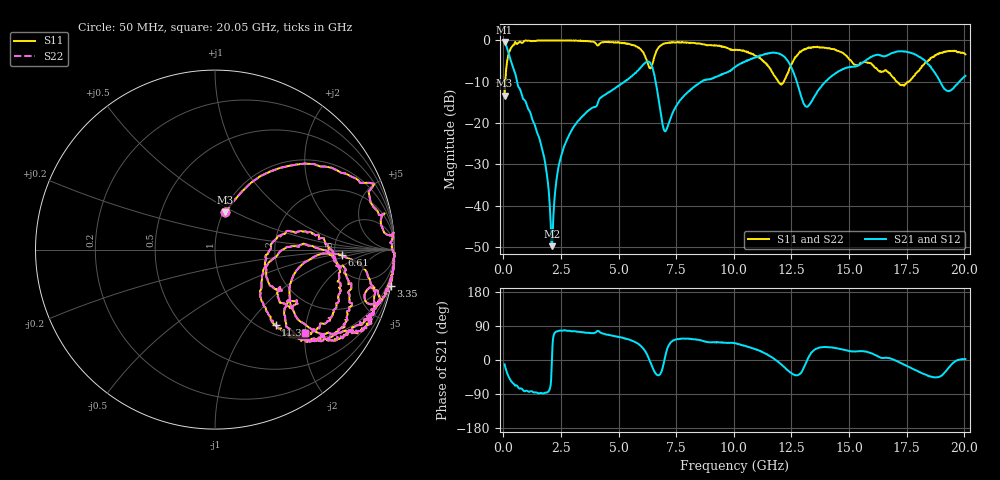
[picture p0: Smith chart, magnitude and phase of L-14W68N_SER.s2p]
! P/N: L-14W68NJV4E
! Measured by Marlon B.  (Application Tech)
! Measured on April 5, 2004
! Measured in a Series-Through Fixture
#	mhz	s	ma	r	50
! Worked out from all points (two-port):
!   1001 points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, 50 MHz to 20.05 GHz, reference 50 ohm
!   highest |S21| = -0.36 dB at 50 MHz (marker M1); lowest = -49.8 dB at 2.11 GHz (marker M2)
!   |S21| within 3 dB of the highest: 11.33 GHz to 12.04 GHz (706.1 MHz wide, 6.04 % of centre); 16.76 GHz to 17.84 GHz (1.085 GHz wide, 6.27 % of centre)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
!   lowest |S11| = -13.4 dB at 50 MHz (marker M3), VSWR 1.55, Z = 51.1 + j22.2 ohm
!   |S11| at or under -10 dB: start of sweep to 78.68 MHz; 11.93 GHz to 12.17 GHz (237.6 MHz wide, 1.97 % of centre); 17.08 GHz to 17.58 GHz (496.9 MHz wide, 2.87 % of centre)
!   |S22| runs from -13.4 to 0.0 dB; largest |S21 - S12| = 0
!   S11 on the Smith chart (normalised r, x): 50 MHz: 1.02, +0.44; 3.35 GHz: 0.01, -9.81; 6.61 GHz: 5.74, -0.73; 11.33 GHz: 1.15, -1.37; 20.05 GHz: 1.16, -2.00
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50  0.2145 74.8  0.9596 -11.6  0.9596 -11.6  0.2145 74.8
590  0.9055 16.9  0.3163 -67.9  0.3163 -67.9  0.9055 16.9
1670  1 -2.1  0.04925 -87.9  0.04925 -87.9  1 -2.1
2110  1 -4.4  0.00324 9.4  0.00324 9.4  1 -4.4
2510  1 -6.3  0.04039 77.4  0.04039 77.4  1 -6.3
3350  0.9999 -11.6  0.1155 73.5  0.1155 73.5  0.9999 -11.6
3390  0.9839 -12.0  0.1176 73.6  0.1176 73.6  0.9839 -12.0
5890  0.8124 -35.2  0.4497 40.7  0.4497 40.7  0.8124 -35.2
6310  0.486 -31.2  0.5538 4.3  0.5538 4.3  0.486 -31.2
6610  0.7075 -2.6  0.3124 -35.9  0.3124 -35.9  0.7075 -2.6
6730  0.8228 -6.2  0.1972 -40.5  0.1972 -40.5  0.8228 -6.2
7050  0.9258 -16.6  0.08097 17.3  0.08097 17.3  0.9258 -16.6
8030  0.9392 -27.6  0.2411 56.5  0.2411 56.5  0.9392 -27.6
10050  0.7631 -38.7  0.4751 44.3  0.4751 44.3  0.7631 -38.7
11330  0.5405 -51.3  0.678 18.0  0.678 18.0  0.5405 -51.3
12030  0.2989 -25.8  0.6843 -10.1  0.6843 -10.1  0.2989 -25.8
12450  0.4712 2.9  0.4968 -32.8  0.4968 -32.8  0.4712 2.9
13390  0.8245 -26.9  0.1859 20.8  0.1859 20.8  0.8245 -26.9
16730  0.4047 -32.9  0.6711 5.0  0.6711 5.0  0.4047 -32.9
18270  0.522 10.5  0.5777 -37.7  0.5777 -37.7  0.522 10.5
19250  0.7378 -21.5  0.2458 -26.1  0.2458 -26.1  0.7378 -21.5
20050  0.6815 -42.7  0.3723 2.4  0.3723 2.4  0.6815 -42.7
